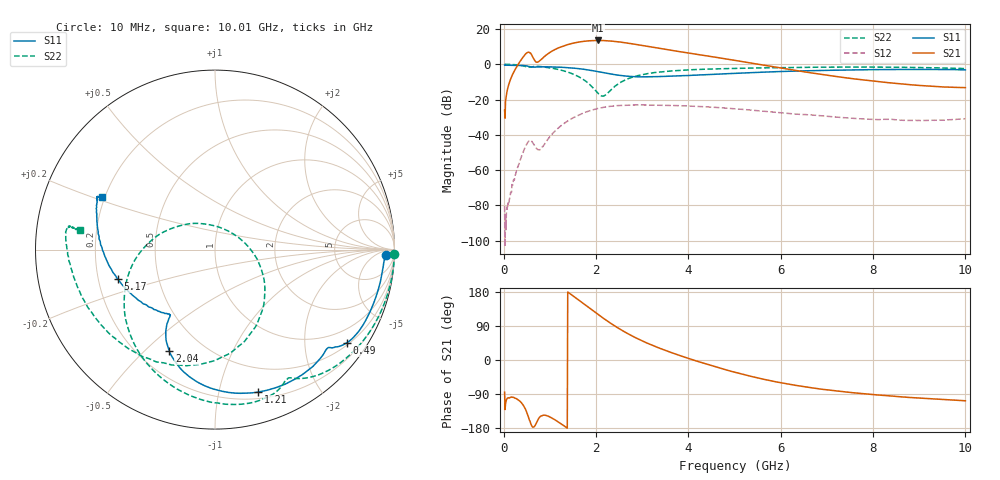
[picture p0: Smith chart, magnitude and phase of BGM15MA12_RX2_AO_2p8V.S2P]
!Agilent Technologies,E5071C,MY46317100,A.11.08
!Date: Fri Dec 19 16:18:40 2014
!Data & Calibration Information:
!Freq	S11:SOLT2(ON)	S21:SOLT2(ON)	S12:SOLT2(ON)	S22:SOLT2(ON)
!PortZ  Port1:50+j0  Port2:50+j0
!Above PortZ is port z conversion or system Z0 setting when saving the data.
!When reading, reference impedance value at option line is always used.
# Hz S RI R 50
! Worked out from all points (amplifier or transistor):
!   1001 points, 10 MHz to 10.01 GHz, reference 50 ohm
!   highest |S21| = 13.5 dB at 2.04 GHz (marker M1)
!   |S21| within 3 dB of that: 1.3 GHz to 3.031 GHz (1.731 GHz wide, 80 % of centre)
!   unconditionally stable (mu >= 1): start of sweep to end of sweep
!   at 1.67 GHz: K = 1.49, MAG = 16.4 dB, |S12| = -28.2 dB
!   at 5.01 GHz: K = 2.31, MAG = 7.3 dB, |S12| = -25.2 dB
!   at 10.01 GHz: K = 17.97, MAG = -6.7 dB, |S12| = -30.9 dB
!   lowest NFmin = 0.99 dB at 1.45 GHz
!   S11 on the Smith chart (normalised r, x): 10 MHz: 30, -18; 490 MHz: 0.56, -3.05; 1.21 GHz: 0.26, -1.31; 2.04 GHz: 0.32, -0.60; 5.17 GHz: 0.28, -0.14; 10.01 GHz: 0.19, +0.21
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1e7  0.9516 -0.0277  0.00463 -0.0501  -7.42e-05 -6.06e-05  0.9995 -0.0223
1.2e8  0.9291 -0.1394  -0.0537 -0.3171  -0.000134 8.65e-05  0.9587 -0.257
3.2e8  0.8597 -0.3546  -0.3057 -1.032  -0.00144 0.000147  0.7289 -0.6063
4.9e8  0.7334 -0.5196  -1.56 -1.409  -0.00462 0.0028  0.4497 -0.7179
5.6e8  0.6624 -0.5455  -1.985 -0.6862  -0.00358 0.00544  0.395 -0.7268
6.4e8  0.6219 -0.5539  -1.441 -0.0764  -0.000921 0.00542  0.3299 -0.8006
8.2e8  0.5388 -0.6558  -1.209 -0.772  -0.00318 0.00311  0.0155 -0.8545
1.01e9  0.402 -0.7445  -1.969 -1.073  -0.00802 0.00493  -0.2605 -0.7445
1.21e9  0.2396 -0.794  -2.948 -0.7239  -0.013 0.011  -0.4445 -0.5365
1.46e9  0.0378 -0.7889  -3.84 0.5109  -0.0159 0.0237  -0.5024 -0.2288
1.68e9  -0.1143 -0.7277  -3.91 2.033  -0.0121 0.0376  -0.3994 0.00617
2.04e9  -0.2545 -0.5659  -2.381 4.115  0.00873 0.0554  -0.0479 0.1414
2.32e9  -0.2742 -0.4545  -0.4961 4.545  0.031 0.0568  0.1893 0.0116
2.69e9  -0.2548 -0.3808  1.422 3.719  0.0541 0.044  0.2757 -0.2766
2.98e9  -0.2514 -0.3626  2.158 2.696  0.0638 0.0295  0.2034 -0.4595
3.35e9  -0.2753 -0.3559  2.425 1.527  0.0684 0.012  0.0382 -0.5991
4.13e9  -0.378 -0.3113  1.972 -0.0317  0.0622 -0.0176  -0.3442 -0.6179
5.01e9  -0.5192 -0.1935  1.091 -0.6918  0.0422 -0.0349  -0.654 -0.3953
5.17e9  -0.542 -0.1649  0.9471 -0.7252  0.0384 -0.0359  -0.6896 -0.3464
6.68e9  -0.6513 0.1044  0.1619 -0.5442  0.0159 -0.0328  -0.8253 0.00676
8.35e9  -0.6559 0.2711  -0.0237 -0.2989  0.01 -0.0256  -0.8169 0.1224
1.001e10  -0.6305 0.2924  -0.066 -0.2078  0.0123 -0.0258  -0.7514 0.108
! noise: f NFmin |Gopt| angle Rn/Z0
1.45e+09  0.9875  0.4229  68.2  0.2081
1.5e+09  0.9946  0.4194  69.86  0.205
1.7e+09  1.012  0.4262  78.58  0.1952
1.85e+09  1.021  0.4189  83.75  0.1896
1.9e+09  1.038  0.4341  85.85  0.1837
2.1e+09  1.073  0.4214  92.32  0.1792
2.3e+09  1.099  0.4185  98.18  0.1709
2.4e+09  1.127  0.426  99.8  0.1668
2.6e+09  1.166  0.4349  106.5  0.1564
2.75e+09  1.259  0.4182  111.6  0.1546
